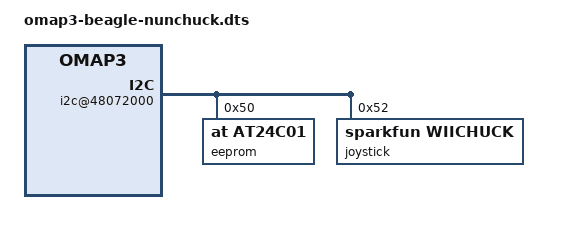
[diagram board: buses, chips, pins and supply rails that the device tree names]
/include/ "omap3-beagle.dts"

/ {
	i2c@48072000 {
		compatible = "ti,omap3-i2c";
		reg = <0x48072000 0x80>;
		#address-cells = <1>;
		#size-cells = <0>;

		eeprom@50 {
			compatible = "at,at24c01";
			reg = < 0x50 >;
		};
		joystick@52 {
			compatible = "sparkfun,wiichuck";
			reg = < 0x52 >;
		};
	};
};
